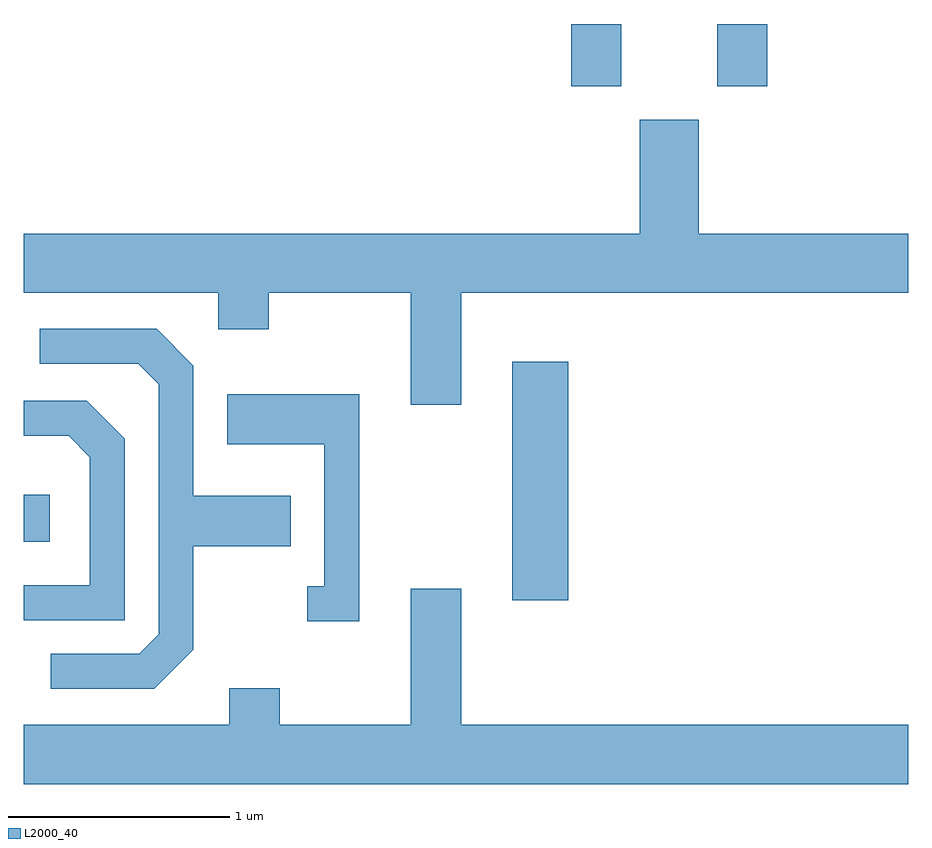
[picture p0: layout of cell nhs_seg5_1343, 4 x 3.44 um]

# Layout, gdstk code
import gdstk
lib = gdstk.Library(unit=1e-6, precision=1e-09)
def R(c, l, rs):  # rectangles x0, y0, x1, y1
    for r in rs: c.add(gdstk.rectangle(r[:2], r[2:], *l))
def P(c, l, *ps):  # polygons
    for p in ps: c.add(gdstk.Polygon(p, *l))
L2000_40 = (2000, 40)

nhs_seg5_1343 = lib.new_cell('nhs_seg5_1343')
R(nhs_seg5_1343, L2000_40, [(227.821,1395.466,228.074,1396.544), (225.611,1395.731,225.729,1395.944), (228.086,1397.791,228.314,1398.072), (228.746,1397.791,228.974,1398.072)])
P(nhs_seg5_1343, L2000_40, [(227.589,1396.856),(229.611,1396.856),(229.611,1397.124),(228.664,1397.124),(228.664,1397.639),(228.396,1397.639),(228.396,1397.124),(225.611,1397.124),(225.611,1396.856),(226.491,1396.856),(226.491,1396.691),(226.719,1396.691),(226.719,1396.856),(227.361,1396.856),(227.361,1396.351),(227.589,1396.351)],
  [(226.379,1395.244),(226.379,1395.711),(226.819,1395.711),(226.819,1395.939),(226.379,1395.939),(226.379,1396.527),(226.212,1396.694),(225.683,1396.694),(225.683,1396.536),(226.129,1396.536),(226.221,1396.444),(226.221,1395.312),(226.134,1395.224),(225.733,1395.224),(225.733,1395.066),(226.202,1395.066)],
  [(227.129,1396.399),(226.531,1396.399),(226.531,1396.171),(226.971,1396.171),(226.971,1395.529),(226.893,1395.529),(226.893,1395.371),(227.129,1395.371)],
  [(226.069,1396.197),(225.897,1396.369),(225.611,1396.369),(225.611,1396.211),(225.814,1396.211),(225.911,1396.114),(225.911,1395.534),(225.611,1395.534),(225.611,1395.376),(226.069,1395.376)],
  [(229.611,1394.904),(227.589,1394.904),(227.589,1395.519),(227.361,1395.519),(227.361,1394.904),(226.769,1394.904),(226.769,1395.069),(226.541,1395.069),(226.541,1394.904),(225.611,1394.904),(225.611,1394.636),(229.611,1394.636)])

lib.write_gds('nhs_seg5_1343.gds')
